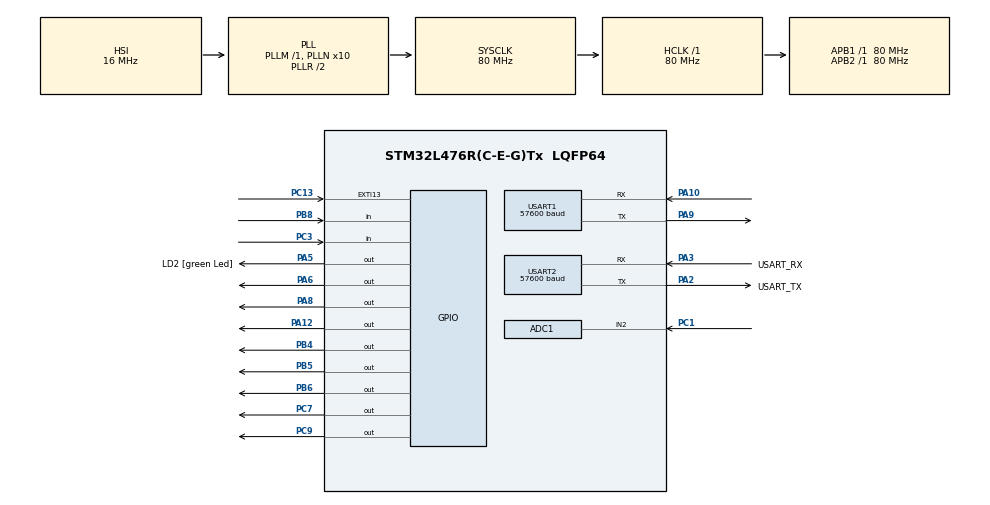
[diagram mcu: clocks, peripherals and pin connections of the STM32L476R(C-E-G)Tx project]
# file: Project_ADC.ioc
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ADC1.Channel-3\#ChannelRegularConversion=ADC_CHANNEL_2
ADC1.NbrOfConversionFlag=1
ADC1.OffsetNumber-3\#ChannelRegularConversion=ADC_OFFSET_NONE
ADC1.Rank-3\#ChannelRegularConversion=1
ADC1.SamplingTime-3\#ChannelRegularConversion=ADC_SAMPLETIME_2CYCLES_5
ADC1.master=1
Mcu.Family=STM32L4
Mcu.Name=STM32L476R(C-E-G)Tx
Mcu.Package=LQFP64
NVIC.EXTI15_10_IRQn=true\:0\:0\:false\:false\:true\:true\:true\:true
NVIC.PriorityGroup=NVIC_PRIORITYGROUP_4
NVIC.TIM2_IRQn=true\:0\:0\:false\:false\:true\:true\:true\:true
PA10.Mode=Asynchronous
PA10.Signal=USART1_RX
PA12.Signal=GPIO_Output
PA13\ (JTMS-SWDIO).GPIO_Label=TMS
PA13\ (JTMS-SWDIO).Mode=Serial_Wire
PA13\ (JTMS-SWDIO).Signal=SYS_JTMS-SWDIO
PA14\ (JTCK-SWCLK).GPIO_Label=TCK
PA14\ (JTCK-SWCLK).Mode=Serial_Wire
PA14\ (JTCK-SWCLK).Signal=SYS_JTCK-SWCLK
PA2.GPIO_Label=USART_TX
PA2.GPIO_Mode=GPIO_MODE_AF_PP
PA2.GPIO_PuPd=GPIO_NOPULL
PA2.GPIO_Speed=GPIO_SPEED_FREQ_VERY_HIGH
PA2.Mode=Asynchronous
PA2.Signal=USART2_TX
PA3.GPIO_Label=USART_RX
PA3.GPIO_Mode=GPIO_MODE_AF_PP
PA3.GPIO_PuPd=GPIO_NOPULL
PA3.GPIO_Speed=GPIO_SPEED_FREQ_VERY_HIGH
PA3.Mode=Asynchronous
PA3.Signal=USART2_RX
PA5.GPIO_Label=LD2 [green Led]
PA5.GPIO_ModeDefaultOutputPP=GPIO_MODE_OUTPUT_PP
PA5.GPIO_PuPd=GPIO_NOPULL
PA5.GPIO_Speed=GPIO_SPEED_FREQ_LOW
PA5.Signal=GPIO_Output
PA6.Signal=GPIO_Output
PA8.Signal=GPIO_Output
PA9.Mode=Asynchronous
PA9.Signal=USART1_TX
PB3\ (JTDO-TRACESWO).GPIO_Label=SWO
PB3\ (JTDO-TRACESWO).Signal=SYS_JTDO-SWO
PB4\ (NJTRST).Signal=GPIO_Output
PB5.Signal=GPIO_Output
PB6.Signal=GPIO_Output
PB8.Signal=GPIO_Input
PC1.Signal=ADCx_IN2
PC13.Signal=GPXTI13
PC14-OSC32_IN\ (PC14).Mode=LSE-External-Oscillator
PC14-OSC32_IN\ (PC14).Signal=RCC_OSC32_IN
PC15-OSC32_OUT\ (PC15).Mode=LSE-External-Oscillator
PC15-OSC32_OUT\ (PC15).Signal=RCC_OSC32_OUT
PC3.Signal=GPIO_Input
PC7.Signal=GPIO_Output
PC9.Signal=GPIO_Output
PH0-OSC_IN\ (PH0).Mode=HSE-External-Oscillator
PH0-OSC_IN\ (PH0).Signal=RCC_OSC_IN
PH1-OSC_OUT\ (PH1).Mode=HSE-External-Oscillator
PH1-OSC_OUT\ (PH1).Signal=RCC_OSC_OUT
ProjectManager.HeapSize=0x200
ProjectManager.StackSize=0x400
ProjectManager.TargetToolchain=STM32CubeIDE
RCC.ADCFreq_Value=64000000
RCC.AHBFreq_Value=80000000
RCC.APB1Freq_Value=80000000
RCC.APB1TimFreq_Value=80000000
RCC.APB2Freq_Value=80000000
RCC.APB2TimFreq_Value=80000000
RCC.CortexFreq_Value=80000000
RCC.HCLKFreq_Value=80000000
RCC.HSE_VALUE=8000000
RCC.HSI_VALUE=16000000
RCC.MSI_VALUE=4000000
RCC.PLLN=10
RCC.PLLSourceVirtual=RCC_PLLSOURCE_HSI
RCC.PREFETCH_ENABLE=1
RCC.SYSCLKFreq_VALUE=80000000
RCC.SYSCLKSource=RCC_SYSCLKSOURCE_PLLCLK
RCC.USBFreq_Value=64000000
RCC.VCOOutputFreq_Value=160000000
SH.ADCx_IN2.0=ADC1_IN2,IN2-Single-Ended
TIM2.Period=1000-1
TIM2.Prescaler=8-1
TIM3.Period=50000-1
TIM3.Prescaler=8000-1
USART1.BaudRate=57600
USART1.VirtualMode-Asynchronous=VM_ASYNC
USART2.BaudRate=57600
USART2.Mode=MODE_TX
USART2.VirtualMode-Asynchronous=VM_ASYNC
VP_RTC_VS_RTC_Activate.Mode=RTC_Enabled
VP_TIM2_VS_ClockSourceINT.Mode=Internal
VP_TIM3_VS_ClockSourceINT.Mode=Internal
board=NUCLEO-L476RG

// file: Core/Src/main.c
/* USER CODE BEGIN Header */
/**
  ******************************************************************************
  * @file           : main.c
  * @brief          : Main program body
  ******************************************************************************
  * @attention
  *
  * Copyright (c) 2022 STMicroelectronics.
  * All rights reserved.
  *
  * This software is licensed under terms that can be found in the LICENSE file
  * in the root directory of this software component.
  * If no LICENSE file comes with this software, it is provided AS-IS.
  *
  ******************************************************************************
  */
/* USER CODE END Header */
#include "main.h"
#include "adc.h"
#include "rtc.h"
#include "tim.h"
#include "usart.h"
#include "gpio.h"

/* USER CODE BEGIN Includes */
#include <stdio.h>
#include "../../MyLibrary/adc.h"
#include "../../MyLibrary/fft.h"
#include "../../MyLibrary/LCD.h"
#include "../../MyLibrary/RS485.h"
#include "arm_math.h"
#include "arm_const_structs.h"

//bool flag;
/* USER CODE END Includes */

/* USER CODE BEGIN PTD */
#define FFT_LENGTH 1024
/* USER CODE END PTD */

/* USER CODE BEGIN PM */
	uint32_t freq = 0;
	uint16_t freq_flag = 0;
	float32_t ADC_In[FFT_LENGTH];
	float32_t Buff_In[FFT_LENGTH * 2];
	float32_t Buff_Out[FFT_LENGTH];

	uint16_t cnt = 0;
	uint16_t previous_state;
	uint16_t pin_flag;
	uint16_t comparatorFrequency = 0;
	uint16_t comparatorFlag = 0;
	int i = 0;
	int lastValue = 0;
	float frequency = 0;  //ADC output
	uint16_t buttonState = 0;
	uint16_t previousState = 0;
	uint8_t trans_data[1] = {0};
	int freq = 0, spd = 0;  //comparator outputs
	int speed = 0;			//ADC outputs

/* USER CODE END PM */

void SystemClock_Config(void);
/* USER CODE BEGIN PFP */
//uint16_t Get_Adc();

/* USER CODE END PFP */

/* USER CODE BEGIN 0 */
//#ifdef __GNUC__
//#define PUTCHAR_PROTOTYPE int __io_putchar(int ch)
//#else
//#define PUTCHAR_PROTOTYPE int fputc(int ch, FILE *f)
//#endif

//PUTCHAR_PROTOTYPE
//{
//  HAL_UART_Transmit(&huart2, (uint8_t *)&ch, 1, HAL_MAX_DELAY);
//  return ch;
//}
/* USER CODE END 0 */

int main(void)
{

  /* MCU Configuration--------------------------------------------------------*/

  /* Reset of all peripherals, Initializes the Flash interface and the Systick. */
   HAL_Init();

  /* Configure the system clock */
  SystemClock_Config();

  /* Initialize all configured peripherals */
  MX_GPIO_Init();
  MX_USART2_UART_Init();
  MX_ADC1_Init();
  MX_RTC_Init();
  MX_TIM2_Init();
  MX_TIM3_Init();
  MX_USART1_UART_Init();
  /* USER CODE BEGIN 2 */
  UART_HandleTypeDef huart1;

  //HAL_ADCEx_Calibration_Start(&hdac1);
  //HAL_ADC_Start_DMA(&hadc1, (uint32_t*)&ADC_Value, FFT_LENGTH);
  //HAL_TIM_Base_Start_IT(&htim2);
  HAL_TIM_Base_Start_IT(&htim3);
  int timer3Val = __HAL_TIM_GET_COUNTER(&htim3);

  	//LCD initialization
    Lcd_PortType ports[] = { GPIOC, GPIOB, GPIOA, GPIOA };
    Lcd_PinType pins[] = {GPIO_PIN_9, GPIO_PIN_6, GPIO_PIN_12, GPIO_PIN_6};
    Lcd_HandleTypeDef lcd;

    lcd = Lcd_create(ports, pins, GPIOB, GPIO_PIN_5, GPIOB, GPIO_PIN_4, LCD_4_BIT_MODE);

    Lcd_cursor(&lcd, 0,1);
    Lcd_string(&lcd, "$$$$$$$$$$$$$$");
      for ( int x = 1; x <= 50 ; x++ )
      {
        Lcd_cursor(&lcd, 1,7);
        Lcd_int(&lcd, x);
        HAL_Delay (100);
      }

      Lcd_clear(&lcd);
      //ChangeUnit(&lcd);

  /* USER CODE END 2 */

  /* Infinite loop */
  /* USER CODE BEGIN WHILE */

  while (1)
  {
	  if(buttonState == 0){
		  if(buttonState != previousState){
			  Lcd_clear(&lcd);
		  	  previousState = buttonState;
		  }
		  Lcd_cursor(&lcd, 0, 5);
		  Lcd_string(&lcd, "WELCOME!");
	  }

	  //$$$$$$$$$$$$$$$$$$$$$$$$$$$$$$$$$$$$$$$$$$$$$$$$ comparator code $$$$$$$$$$$$$$$$$$$$$$$$$$$$$$$$$$$$$$$$$$$$$$$$$$$$$$$
	  if(buttonState == 1){
		  if(buttonState != previousState){
			  Lcd_clear(&lcd);
		  	  previousState = buttonState;
		  }
	  	  while(__HAL_TIM_GET_COUNTER(&htim3) - timer3Val < 10000){
			  comparatorFlag = 1;
			  uint16_t current_state;
			  current_state = HAL_GPIO_ReadPin(GPIOC, GPIO_PIN_3);  //PB8 -> PC3

			  if(current_state != previous_state){
				  pin_flag = 1;
			  }
			  else
				  pin_flag = 0;

			  if(pin_flag == 1){
				  cnt ++;
				  previous_state = current_state;
			  }
			  else
				  previous_state = current_state;
	  	  }

	  	  freq = cnt/2;
	  	  //printf("Comp Freq: %d\r\n", freq);

		  Lcd_cursor(&lcd, 0, 1);
		  Lcd_string(&lcd, "Freq:");
		  Lcd_cursor(&lcd, 0, 7);
		  Lcd_int(&lcd, freq);
		  Lcd_cursor(&lcd, 1, 1);
		  Lcd_string(&lcd, "Speed:");
		  Lcd_cursor(&lcd, 0, 8);
		  Lcd_int(&lcd, spd);

		  RS485_Data_Transmit(spd, trans_data);

	  	  cnt = 0;
	  	  timer3Val = __HAL_TIM_GET_COUNTER(&htim3);

	  }

	  //$$$$$$$$$$$$$$$$$$$$$$$$$$$$$$$$$$$$$$$$$$$$$$$$$$$$$ ADC code $$$$$$$$$$$$$$$$$$$$$$$$$$$$$$$$$$$$$$$$$$$$$$$$$$$$$$$$$$
	  if(buttonState == 2){
		  if(buttonState != previousState){
			  Lcd_clear(&lcd);
			  previousState = buttonState;
		  }
	  	  for(int i = 0; i < FFT_LENGTH; i++){
	  		ADC_In[i] = Get_Adc();
	  	  }

	  	 // if(i == FFT_LENGTH){
	  		  comparatorFlag = 0;
	  		  cnt = 0;
	  		  //Initialize Buff_In
	  		  for (int i = 0; i < FFT_LENGTH; i++)
	  		  {
	  			  Buff_In[i * 2] = ADC_In[i]*3.3/4096;
	  			  Buff_In[i * 2 + 1] = 0;
	  		  }

	  		  //Perform FFT
	  		  arm_cfft_f32(&arm_cfft_sR_f32_len1024, Buff_In, 0, 1);
	  		  arm_cmplx_mag_f32(Buff_In, Buff_Out, FFT_LENGTH);

	  		  //FFT output regulation
	  		  Buff_Out[0] /= 1024;
	  		  for(int i = 0; i < FFT_LENGTH; i++){
	  			  Buff_Out[i] /= 512;
	  		  }

	  		  //Find the maximum magnitude and its index
	  		  uint32_t index = 0;
	  		  for(int i = 1; i < FFT_LENGTH; i++){
	  			 if(Buff_Out[i] > Buff_Out[index]){
	  			   index = i;
	  			 }
	  		  }
	  		  //printf("%.4f %d\r\n", Buff_Out[index], index);

	  		  frequency = index * 250000.0 / FFT_LENGTH / 2.5;
	  		  speed = frequency / 70;

	  		  //Display frequency on LCD
	  		  if(frequency < 3000){
	  			  //printf("FFT: %d    ||    ", (int)frequency);
	  			  Lcd_cursor(&lcd, 0, 1);
	  			  Lcd_string(&lcd, "Freq:");
	  			  Lcd_cursor(&lcd, 0, 7);
	  			  Lcd_int(&lcd, (int)frequency);
	  			  Lcd_cursor(&lcd, 1, 1);
	  			  Lcd_string(&lcd, "Speed:");
	  			  Lcd_cursor(&lcd, 0, 8);
	  			  Lcd_int(&lcd, (int)speed);

	  			  //Transmit RS485 data
	  			  RS485_Data_Transmit(speed, trans_data);
	  		  }
	  }//	end of FFT if

 }// end of while
    /* USER CODE END WHILE */

}

void SystemClock_Config(void)
{
  RCC_OscInitTypeDef RCC_OscInitStruct = {0};
  RCC_ClkInitTypeDef RCC_ClkInitStruct = {0};

  /** Configure the main internal regulator output voltage
  */
  if (HAL_PWREx_ControlVoltageScaling(PWR_REGULATOR_VOLTAGE_SCALE1) != HAL_OK)
  {
    Error_Handler();
  }

  /** Initializes the RCC Oscillators according to the specified parameters
  * in the RCC_OscInitTypeDef structure.
  */
  RCC_OscInitStruct.OscillatorType = RCC_OSCILLATORTYPE_HSI|RCC_OSCILLATORTYPE_LSI;
  RCC_OscInitStruct.HSIState = RCC_HSI_ON;
  RCC_OscInitStruct.HSICalibrationValue = RCC_HSICALIBRATION_DEFAULT;
  RCC_OscInitStruct.LSIState = RCC_LSI_ON;
  RCC_OscInitStruct.PLL.PLLState = RCC_PLL_ON;
  RCC_OscInitStruct.PLL.PLLSource = RCC_PLLSOURCE_HSI;
  RCC_OscInitStruct.PLL.PLLM = 1;
  RCC_OscInitStruct.PLL.PLLN = 10;
  RCC_OscInitStruct.PLL.PLLP = RCC_PLLP_DIV7;
  RCC_OscInitStruct.PLL.PLLQ = RCC_PLLQ_DIV2;
  RCC_OscInitStruct.PLL.PLLR = RCC_PLLR_DIV2;
  if (HAL_RCC_OscConfig(&RCC_OscInitStruct) != HAL_OK)
  {
    Error_Handler();
  }

  /** Initializes the CPU, AHB and APB buses clocks
  */
  RCC_ClkInitStruct.ClockType = RCC_CLOCKTYPE_HCLK|RCC_CLOCKTYPE_SYSCLK
                              |RCC_CLOCKTYPE_PCLK1|RCC_CLOCKTYPE_PCLK2;
  RCC_ClkInitStruct.SYSCLKSource = RCC_SYSCLKSOURCE_PLLCLK;
  RCC_ClkInitStruct.AHBCLKDivider = RCC_SYSCLK_DIV1;
  RCC_ClkInitStruct.APB1CLKDivider = RCC_HCLK_DIV1;
  RCC_ClkInitStruct.APB2CLKDivider = RCC_HCLK_DIV1;

  if (HAL_RCC_ClockConfig(&RCC_ClkInitStruct, FLASH_LATENCY_4) != HAL_OK)
  {
    Error_Handler();
  }
}

/* USER CODE BEGIN 4 */
void HAL_GPIO_EXTI_Callback(uint16_t GPIO_Pin)
{
		buttonState++;
		if(buttonState > 2){
			buttonState = 0;
		}
}

//void HAL_TIM_PeriodElapsedCallback(TIM_HandleTypeDef *htim)
//{
//	if(htim == (&htim2)){
//		if(i == FFT_LENGTH)
//		{
//			lastValue = 0;
//			return;
//		}
//		else
//		{
//			freq = 10000 * (i - lastValue);
//			lastValue = i;
//		}
//	}
//
//	if(htim == (&htim3)){
//		if(comparatorFlag == 1){
//			comparatorFrequency = 5 * cnt;
//			printf("%5\r\n", comparatorFrequency);
//			cnt = 0;
//		}
//	}
//}

/* USER CODE END 4 */

void Error_Handler(void)
{
  __disable_irq();
  while (1)
  {
  }
}
